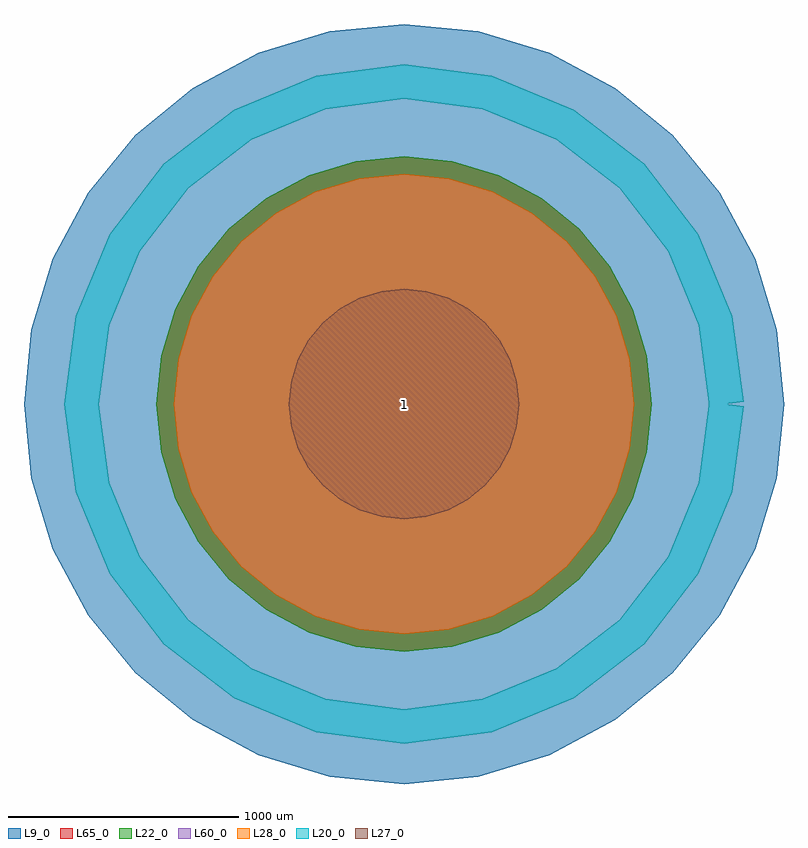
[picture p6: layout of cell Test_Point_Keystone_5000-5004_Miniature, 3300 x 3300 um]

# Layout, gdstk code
import gdstk
lib = gdstk.Library(unit=1e-6, precision=1e-09)
def P(c, l, *ps):  # polygons
    for p in ps: c.add(gdstk.Polygon(p, *l))
L9_0 = (9, 0)
L20_0 = (20, 0)
L22_0 = (22, 0)
L27_0 = (27, 0)
L28_0 = (28, 0)
L60_0 = (60, 0)
L65_0 = (65, 0)

test_point_keystone_5000 = lib.new_cell('Test_Point_Keystone_5000-5004_Miniature')
P(test_point_keystone_5000, L9_0, [(1250,0),(1225.982,243.863),(1154.849,478.354),(1039.337,694.463),(883.883,883.883),(694.463,1039.337),(478.354,1154.849),(243.863,1225.982),(0,1250),(-243.863,1225.982),(-478.354,1154.849),(-694.463,1039.337),(-883.883,883.883),(-1039.337,694.463),(-1154.849,478.354),(-1225.982,243.863),(-1250,0),(-1225.982,-243.863),(-1154.849,-478.354),(-1039.337,-694.463),(-883.883,-883.883),(-694.463,-1039.337),(-478.354,-1154.849),(-243.863,-1225.982),(0,-1250),(243.863,-1225.982),(478.354,-1154.849),(694.463,-1039.337),(883.883,-883.883),(1039.337,-694.463),(1154.849,-478.354),(1225.982,-243.863)],
  [(1650,0),(1618.296,321.899),(1524.401,631.428),(1371.925,916.691),(1166.726,1166.726),(916.691,1371.925),(631.428,1524.401),(321.899,1618.296),(0,1650),(-321.899,1618.296),(-631.428,1524.401),(-916.691,1371.925),(-1166.726,1166.726),(-1371.925,916.691),(-1524.401,631.428),(-1618.296,321.899),(-1650,0),(-1618.296,-321.899),(-1524.401,-631.428),(-1371.925,-916.691),(-1166.726,-1166.726),(-916.691,-1371.925),(-631.428,-1524.401),(-321.899,-1618.296),(0,-1650),(321.899,-1618.296),(631.428,-1524.401),(916.691,-1371.925),(1166.726,-1166.726),(1371.925,-916.691),(1524.401,-631.428),(1618.296,-321.899)])
P(test_point_keystone_5000, L22_0, [(1075,0),(1054.344,209.722),(993.17,411.385),(893.83,597.238),(760.14,760.14),(597.238,893.83),(411.385,993.17),(209.722,1054.344),(0,1075),(-209.722,1054.344),(-411.385,993.17),(-597.238,893.83),(-760.14,760.14),(-893.83,597.238),(-993.17,411.385),(-1054.344,209.722),(-1075,0),(-1054.344,-209.722),(-993.17,-411.385),(-893.83,-597.238),(-760.14,-760.14),(-597.238,-893.83),(-411.385,-993.17),(-209.722,-1054.344),(0,-1075),(209.722,-1054.344),(411.385,-993.17),(597.238,-893.83),(760.14,-760.14),(893.83,-597.238),(993.17,-411.385),(1054.344,-209.722)])
P(test_point_keystone_5000, L27_0, [(499.999,0),(490.392,97.545),(461.939,191.341),(415.734,277.785),(353.553,353.553),(277.785,415.734),(191.341,461.939),(97.545,490.392),(0,499.999),(-97.545,490.392),(-191.341,461.939),(-277.785,415.734),(-353.553,353.553),(-415.734,277.785),(-461.939,191.341),(-490.392,97.545),(-499.999,0),(-490.392,-97.545),(-461.939,-191.341),(-415.734,-277.785),(-353.553,-353.553),(-277.785,-415.734),(-191.341,-461.939),(-97.545,-490.392),(0,-499.999),(97.545,-490.392),(191.341,-461.939),(277.785,-415.734),(353.553,-353.553),(415.734,-277.785),(461.939,-191.341),(490.392,-97.545)])
P(test_point_keystone_5000, L28_0, [(1000,0),(980.785,195.09),(923.88,382.683),(831.47,555.57),(707.107,707.107),(555.57,831.47),(382.683,923.88),(195.09,980.785),(0,1000),(-195.09,980.785),(-382.683,923.88),(-555.57,831.47),(-707.107,707.107),(-831.47,555.57),(-923.88,382.683),(-980.785,195.09),(-1000,0),(-980.785,-195.09),(-923.88,-382.683),(-831.47,-555.57),(-707.107,-707.107),(-555.57,-831.47),(-382.683,-923.88),(-195.09,-980.785),(0,-1000),(195.09,-980.785),(382.683,-923.88),(555.57,-831.47),(707.107,-707.107),(831.47,-555.57),(923.88,-382.683),(980.785,-195.09)])
P(test_point_keystone_5000, L60_0, [(1000,0),(980.785,195.09),(923.88,382.683),(831.47,555.57),(707.107,707.107),(555.57,831.47),(382.683,923.88),(195.09,980.785),(0,1000),(-195.09,980.785),(-382.683,923.88),(-555.57,831.47),(-707.107,707.107),(-831.47,555.57),(-923.88,382.683),(-980.785,195.09),(-1000,0),(-980.785,-195.09),(-923.88,-382.683),(-831.47,-555.57),(-707.107,-707.107),(-555.57,-831.47),(-382.683,-923.88),(-195.09,-980.785),(0,-1000),(195.09,-980.785),(382.683,-923.88),(555.57,-831.47),(707.107,-707.107),(831.47,-555.57),(923.88,-382.683),(980.785,-195.09)])
P(test_point_keystone_5000, L65_0, [(1075,0),(1054.344,209.722),(993.17,411.385),(893.83,597.238),(760.14,760.14),(597.238,893.83),(411.385,993.17),(209.722,1054.344),(0,1075),(-209.722,1054.344),(-411.385,993.17),(-597.238,893.83),(-760.14,760.14),(-893.83,597.238),(-993.17,411.385),(-1054.344,209.722),(-1075,0),(-1054.344,-209.722),(-993.17,-411.385),(-893.83,-597.238),(-760.14,-760.14),(-597.238,-893.83),(-411.385,-993.17),(-209.722,-1054.344),(0,-1075),(209.722,-1054.344),(411.385,-993.17),(597.238,-893.83),(760.14,-760.14),(893.83,-597.238),(993.17,-411.385),(1054.344,-209.722)])
test_point_keystone_5000.add(gdstk.FlexPath([(1400,0),(1352.296,362.347),(1212.436,700),(989.949,989.949),(700,1212.436),(362.347,1352.296),(0,1400),(-362.347,1352.296),(-700,1212.436),(-989.949,989.949),(-1212.436,700),(-1352.296,362.347),(-1400,0),(-1352.296,-362.347),(-1212.436,-700),(-989.949,-989.949),(-700,-1212.436),(-362.347,-1352.296),(0,-1400),(362.347,-1352.296),(700,-1212.436),(989.949,-989.949),(1212.436,-700),(1352.296,-362.347),(1400,0)], 149.998, ends="flush", simple_path=True, layer=20, datatype=0))  # L20_0
test_point_keystone_5000.add(gdstk.FlexPath([(-750,-250),(-750,250)], 149.998, ends="flush", simple_path=True, layer=9, datatype=0))  # L9_0
test_point_keystone_5000.add(gdstk.FlexPath([(750,-250),(-750,-250)], 149.998, ends="flush", simple_path=True, layer=9, datatype=0))  # L9_0
test_point_keystone_5000.add(gdstk.FlexPath([(750,250),(750,-250)], 149.998, ends="flush", simple_path=True, layer=9, datatype=0))  # L9_0
test_point_keystone_5000.add(gdstk.FlexPath([(-750,250),(750,250)], 149.998, ends="flush", simple_path=True, layer=9, datatype=0))  # L9_0
test_point_keystone_5000.add(gdstk.Label('1', (0,0), layer=28, texttype=0))
test_point_keystone_5000.add(gdstk.Label('type', (0,-2500), layer=9, texttype=0))
test_point_keystone_5000.add(gdstk.Label('devicename', (0,2500), layer=9, texttype=0))

lib.write_gds('Test_Point_Keystone_5000-5004_Miniature.gds')
